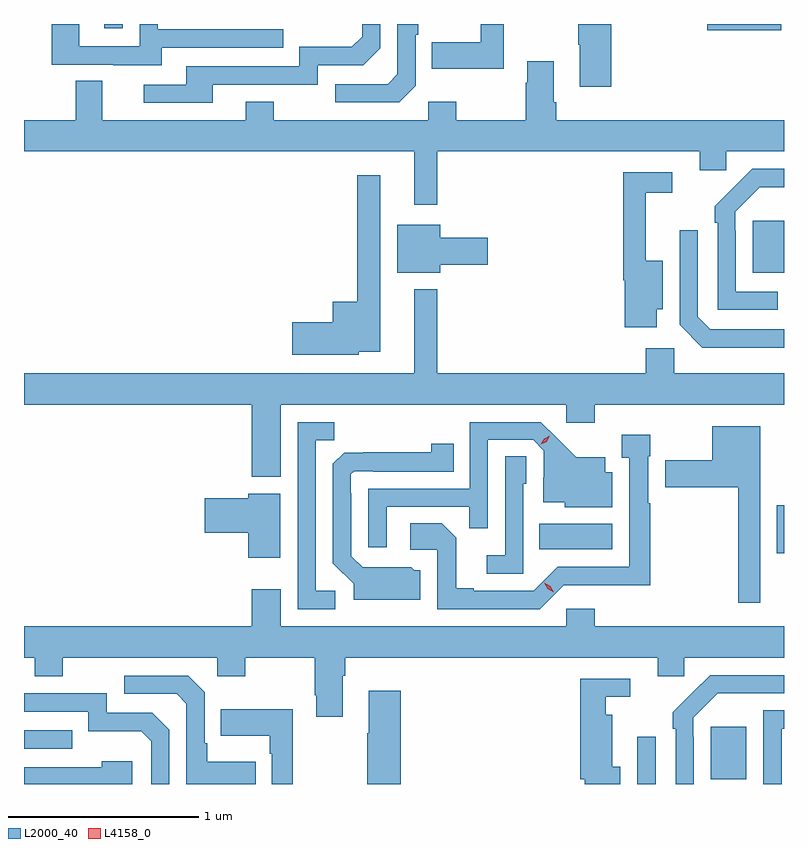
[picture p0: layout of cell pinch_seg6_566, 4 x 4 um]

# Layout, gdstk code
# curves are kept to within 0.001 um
import gdstk
lib = gdstk.Library(unit=1e-6, precision=1e-09)
def R(c, l, rs):  # rectangles x0, y0, x1, y1
    for r in rs: c.add(gdstk.rectangle(r[:2], r[2:], *l))
def P(c, l, *ps):  # polygons
    for p in ps: c.add(gdstk.Polygon(p, *l))
L2000_40 = (2000, 40)
L4158_0 = (4158, 0)

pinch_seg6_566 = lib.new_cell('pinch_seg6_566')
R(pinch_seg6_566, L2000_40, [(603.861,973.311,603.957,973.561), (604.247,973.337,604.435,973.612), (600.633,973.497,600.887,973.593), (604.595,974.525,604.633,974.779), (603.346,974.546,603.73,974.68), (604.469,976.001,604.633,976.276), (604.23,977.278,604.618,977.311), (601.055,977.289,601.152,977.311)])
P(pinch_seg6_566, L2000_40, [(603.725,977.311),(603.55,977.311),(603.55,977.203),(603.557,977.203),(603.557,976.98),(603.725,976.98)],
  [(601.627,976.992),(602.178,976.992),(602.178,977.094),(602.418,977.094),(602.508,977.184),(602.508,977.311),(602.412,977.311),(602.412,977.244),(602.359,977.191),(602.082,977.191),(602.082,977.088),(601.487,977.088),(601.487,976.992),(601.263,976.992),(601.263,976.896),(601.627,976.896)],
  [(602.694,976.986),(602.694,977.255),(602.707,977.255),(602.707,977.311),(602.598,977.311),(602.598,977.046),(602.547,976.995),(602.271,976.995),(602.271,976.899),(602.607,976.899)],
  [(603.157,977.311),(603.036,977.311),(603.036,977.215),(602.779,977.215),(602.779,977.075),(603.157,977.075)],
  [(601.357,977.187),(601.997,977.187),(601.997,977.283),(601.338,977.283),(601.338,977.311),(601.242,977.311),(601.242,977.193),(600.924,977.193),(600.924,977.311),(600.779,977.311),(600.779,977.097),(601.103,977.097),(601.103,977.093),(601.357,977.093)],
  [(602.809,976.64),(604.19,976.64),(604.19,976.542),(604.329,976.542),(604.329,976.64),(604.633,976.64),(604.633,976.804),(603.434,976.804),(603.434,976.9),(603.421,976.9),(603.421,977.116),(603.281,977.116),(603.281,977.003),(603.274,977.003),(603.274,976.804),(602.907,976.804),(602.907,976.903),(602.76,976.903),(602.76,976.804),(601.947,976.804),(601.947,976.903),(601.799,976.903),(601.799,976.804),(601.045,976.804),(601.045,977.012),(600.905,977.012),(600.905,976.804),(600.633,976.804),(600.633,976.64),(602.687,976.64),(602.687,976.359),(602.809,976.359)],
  [(604.6,975.903),(604.38,975.903),(604.38,976.223),(604.377,976.223),(604.377,976.323),(604.506,976.452),(604.633,976.452),(604.633,976.548),(604.466,976.548),(604.269,976.353),(604.269,976.265),(604.284,976.265),(604.284,975.807),(604.6,975.807)],
  [(603.964,975.809),(603.994,975.809),(603.994,976.066),(603.905,976.066),(603.905,976.422),(604.045,976.422),(604.045,976.53),(603.787,976.53),(603.787,975.962),(603.794,975.962),(603.794,975.714),(603.964,975.714)],
  [(602.394,975.587),(602.509,975.587),(602.509,976.516),(602.388,976.516),(602.388,975.85),(602.258,975.85),(602.258,975.74),(602.046,975.74),(602.046,975.569),(602.394,975.569)],
  [(602.824,976.043),(603.073,976.043),(603.073,976.185),(602.824,976.185),(602.824,976.255),(602.597,976.255),(602.597,976.001),(602.824,976.001)],
  [(604.633,975.705),(604.245,975.705),(604.179,975.771),(604.179,976.225),(604.083,976.225),(604.083,975.729),(604.204,975.608),(604.633,975.608)],
  [(601.984,975.308),(603.486,975.308),(603.486,975.213),(603.638,975.213),(603.638,975.308),(604.633,975.308),(604.633,975.472),(604.056,975.472),(604.056,975.604),(603.905,975.604),(603.905,975.472),(602.809,975.472),(602.809,975.916),(602.687,975.916),(602.687,975.472),(600.633,975.472),(600.633,975.308),(601.832,975.308),(601.832,974.928),(601.984,974.928)],
  [(602.541,974.769),(602.977,974.769),(602.977,974.656),(603.075,974.656),(603.075,975.123),(603.312,975.123),(603.369,975.066),(603.369,974.924),(603.365,974.924),(603.365,974.795),(603.48,974.795),(603.48,974.768),(603.73,974.768),(603.73,974.953),(603.691,974.953),(603.691,975.031),(603.539,975.031),(603.352,975.216),(602.979,975.216),(602.979,974.865),(602.445,974.865),(602.445,974.556),(602.541,974.556)],
  [(602.272,974.328),(602.169,974.328),(602.169,975.121),(602.265,975.121),(602.265,975.216),(602.073,975.216),(602.073,974.232),(602.272,974.232)],
  [(604.507,975.193),(604.256,975.193),(604.256,975.015),(604.008,975.015),(604.008,974.873),(604.393,974.873),(604.393,974.265),(604.507,974.265)],
  [(603.474,974.358),(603.929,974.357),(603.929,974.789),(603.919,974.789),(603.919,975.035),(603.929,975.035),(603.929,975.148),(603.779,975.148),(603.779,975.027),(603.818,975.027),(603.818,974.454),(603.441,974.454),(603.315,974.328),(603.001,974.328),(603.001,974.341),(602.907,974.341),(602.907,974.608),(602.831,974.684),(602.667,974.684),(602.667,974.544),(602.808,974.544),(602.808,974.232),(603.348,974.232)],
  [(602.719,974.436),(602.688,974.436),(602.672,974.452),(602.415,974.451),(602.355,974.511),(602.355,974.84),(602.352,974.84),(602.352,974.94),(602.37,974.958),(602.47,974.958),(602.47,974.955),(602.894,974.955),(602.894,975.103),(602.776,975.103),(602.776,975.056),(602.318,975.055),(602.259,974.996),(602.259,974.474),(602.369,974.364),(602.369,974.282),(602.719,974.282)],
  [(603.261,974.892),(603.276,974.892),(603.276,975.035),(603.165,975.035),(603.165,974.515),(603.069,974.515),(603.069,974.418),(603.261,974.418)],
  [(601.981,974.839),(601.814,974.839),(601.814,974.816),(601.584,974.816),(601.584,974.633),(601.814,974.633),(601.814,974.502),(601.981,974.502)],
  [(602.311,973.88),(602.324,973.88),(602.324,973.976),(603.968,973.976),(603.968,973.878),(604.107,973.878),(604.107,973.976),(604.633,973.976),(604.633,974.14),(603.638,974.14),(603.638,974.233),(603.486,974.233),(603.486,974.14),(601.984,974.14),(601.984,974.335),(601.832,974.335),(601.832,974.14),(600.633,974.14),(600.633,973.976),(600.689,973.976),(600.689,973.877),(600.837,973.877),(600.837,973.976),(601.65,973.976),(601.65,973.877),(601.797,973.877),(601.797,973.976),(602.164,973.976),(602.164,973.777),(602.171,973.777),(602.171,973.665),(602.311,973.665)],
  [(604.158,973.559),(604.155,973.559),(604.155,973.659),(604.284,973.788),(604.633,973.788),(604.633,973.884),(604.244,973.884),(604.047,973.689),(604.047,973.601),(604.062,973.601),(604.062,973.311),(604.158,973.311)],
  [(601.853,973.429),(601.597,973.429),(601.597,973.525),(601.584,973.525),(601.584,973.794),(601.497,973.881),(601.161,973.881),(601.161,973.785),(601.437,973.785),(601.488,973.734),(601.488,973.311),(601.853,973.311)],
  [(603.772,973.402),(603.73,973.402),(603.73,973.675),(603.694,973.675),(603.694,973.77),(603.823,973.77),(603.823,973.866),(603.56,973.866),(603.56,973.335),(603.584,973.335),(603.584,973.311),(603.772,973.311)],
  [(602.615,973.801),(602.447,973.801),(602.447,973.577),(602.44,973.577),(602.44,973.311),(602.615,973.311)],
  [(601.398,973.596),(601.308,973.686),(601.068,973.686),(601.068,973.788),(600.633,973.788),(600.633,973.692),(600.972,973.692),(600.972,973.589),(601.249,973.589),(601.302,973.536),(601.302,973.311),(601.398,973.311)],
  [(602.047,973.705),(601.669,973.705),(601.669,973.565),(601.926,973.565),(601.926,973.469),(601.938,973.469),(601.938,973.311),(602.047,973.311)],
  [(604.62,973.602),(604.633,973.602),(604.633,973.698),(604.524,973.698),(604.524,973.311),(604.62,973.311)],
  [(601.204,973.432),(601.043,973.432),(601.043,973.398),(600.633,973.398),(600.633,973.311),(601.204,973.311)])
P(pinch_seg6_566, L4158_0, [(603.42,974.319),(603.389,974.338),(603.372,974.37),(603.372,974.371),(603.372,974.371),(603.403,974.352),(603.42,974.319),(603.42,974.319)],
  [(603.353,975.098),(603.353,975.098),(603.37,975.128),(603.401,975.143),(603.401,975.143),(603.401,975.143),(603.384,975.113),(603.353,975.098)])

lib.write_gds('pinch_seg6_566.gds')
